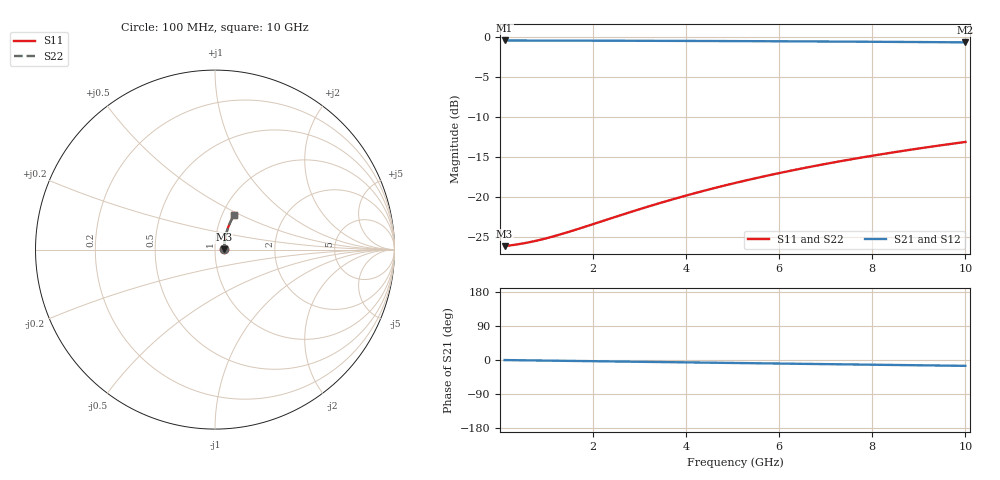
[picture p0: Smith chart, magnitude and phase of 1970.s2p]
# Hz S RI R 50.00
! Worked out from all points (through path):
!   100 points, 100 MHz to 10 GHz, reference 50 ohm
!   highest |S21| = -0.44 dB at 100 MHz (marker M1); lowest = -0.7 dB at 10 GHz (marker M2)
!   group delay of S21, straight-line fit = 4.29 ps
!   lowest |S11| = -26.2 dB at 100 MHz (marker M3), VSWR 1.10, Z = 55.2 + j0.23 ohm
!   |S11| at or under -10 dB: start of sweep to end of sweep
!   |S22| runs from -26.2 to -13.1 dB; largest |S21 - S12| = 0
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1e8  0.0491 0.00208  0.9509 -0.00261  0.9509 -0.00261  0.0491 0.00208
3e8  0.0497 0.00622  0.9503 -0.00781  0.9503 -0.00781  0.0497 0.00622
5e8  0.0501 0.0104  0.9499 -0.013  0.9499 -0.013  0.0501 0.0104
7e8  0.0505 0.0145  0.9495 -0.0182  0.9495 -0.0182  0.0505 0.0145
9e8  0.0509 0.0186  0.9491 -0.0234  0.9491 -0.0234  0.0509 0.0186
1.1e9  0.0513 0.0227  0.9487 -0.0286  0.9487 -0.0286  0.0513 0.0227
1.3e9  0.0517 0.0269  0.9483 -0.0338  0.9483 -0.0338  0.0517 0.0269
1.8e9  0.0529 0.0371  0.9471 -0.0467  0.9471 -0.0467  0.0529 0.0371
2.8e9  0.0559 0.0575  0.9439 -0.0724  0.9439 -0.0724  0.0559 0.0575
3.4e9  0.0582 0.0696  0.9416 -0.0877  0.9416 -0.0877  0.0582 0.0696
3.8e9  0.06 0.0777  0.9398 -0.0978  0.9398 -0.0978  0.06 0.0777
4.2e9  0.0619 0.0856  0.9379 -0.1079  0.9379 -0.1079  0.0619 0.0856
4.6e9  0.0639 0.0936  0.9357 -0.118  0.9357 -0.118  0.0639 0.0936
5.1e9  0.0667 0.1034  0.9329 -0.1305  0.9329 -0.1305  0.0667 0.1034
5.5e9  0.0691 0.1111  0.9304 -0.1404  0.9304 -0.1404  0.0691 0.1111
5.9e9  0.0717 0.1188  0.9277 -0.1502  0.9277 -0.1502  0.0717 0.1188
6.3e9  0.0745 0.1265  0.9249 -0.16  0.9249 -0.16  0.0745 0.1265
6.7e9  0.0773 0.134  0.922 -0.1696  0.922 -0.1696  0.0773 0.134
7.5e9  0.0836 0.1489  0.9156 -0.1888  0.9156 -0.1888  0.0836 0.1489
8.4e9  0.0913 0.1652  0.9077 -0.2099  0.9077 -0.2099  0.0913 0.1652
9.2e9  0.0987 0.1792  0.9 -0.2282  0.9 -0.2282  0.0987 0.1792
1e10  0.1067 0.1929  0.8918 -0.2461  0.8918 -0.2461  0.1067 0.1929
